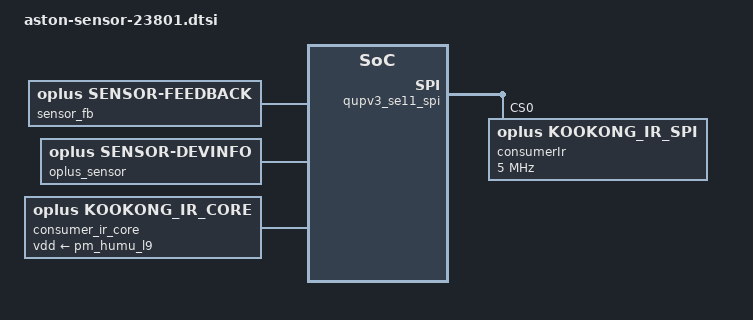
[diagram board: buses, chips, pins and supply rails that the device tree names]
/**********************************************************************************
* Copyright (c)  2022-2024  Guangdong oplus Mobile Comm Corp., Ltd
* Description: oplus sensor dtsi
*
* Version: 1.0
* Date: 2022-07-04
*
* ------------------------------ Revision History: --------------------------------
* <version>         <date>        <author>                <desc>
***********************************************************************************/
&soc {
	//#ifdef OPLUS_FEATURE_SENSOR_SMEM
	sensor_fb: sensor_fb {
		compatible = "oplus,sensor-feedback";
		master-id  = <3>;
		smem-id    = <608>;
	};
	ssc_interactive {
		sup-power-fb;
		need_lb_algo = <1>;
		sup-hbm-mode = <1>;
		report_blank_mode = <1>;

		primary_lb_brl_info {
			brl_thrd_num = <1>;
			brl_thrd = <1>;
			brl_l2h_thrd = <1>;
		};
	};
	oplus_sensor {
		compatible = "oplus,sensor-devinfo";
		/*virtual sensor*/
		mag_fusion {
			sensor-type = <6>;//OPLUS_MAG_FUSION
			is-virtual-sensor;
			fusion-type = <0>;//OPLUS_FUSION
			fold-feature = <0>;
		};
	};
	consumer_ir_core: consumer_ir_core {
		compatible = "oplus,kookong_ir_core";
		status = "okay";
		vdd-type = <0>; /*0: internal LDO , 1: external LDO*/
		vdd-supply = <&pm_humu_l9>;
		vdd-min-vol = <3160000>;
		vdd-max-vol = <3160000>;
	};
};

&qupv3_se11_spi{
	status = "ok";
	consumerIr@0 {
		compatible = "oplus,kookong_ir_spi";
		reg = <0>;
		status = "ok";

		spi-max-frequency = <5000000>;    /*4800000,9600000,15000000,19200000*/
		ir-spi-mode = <0>;
	};
};
